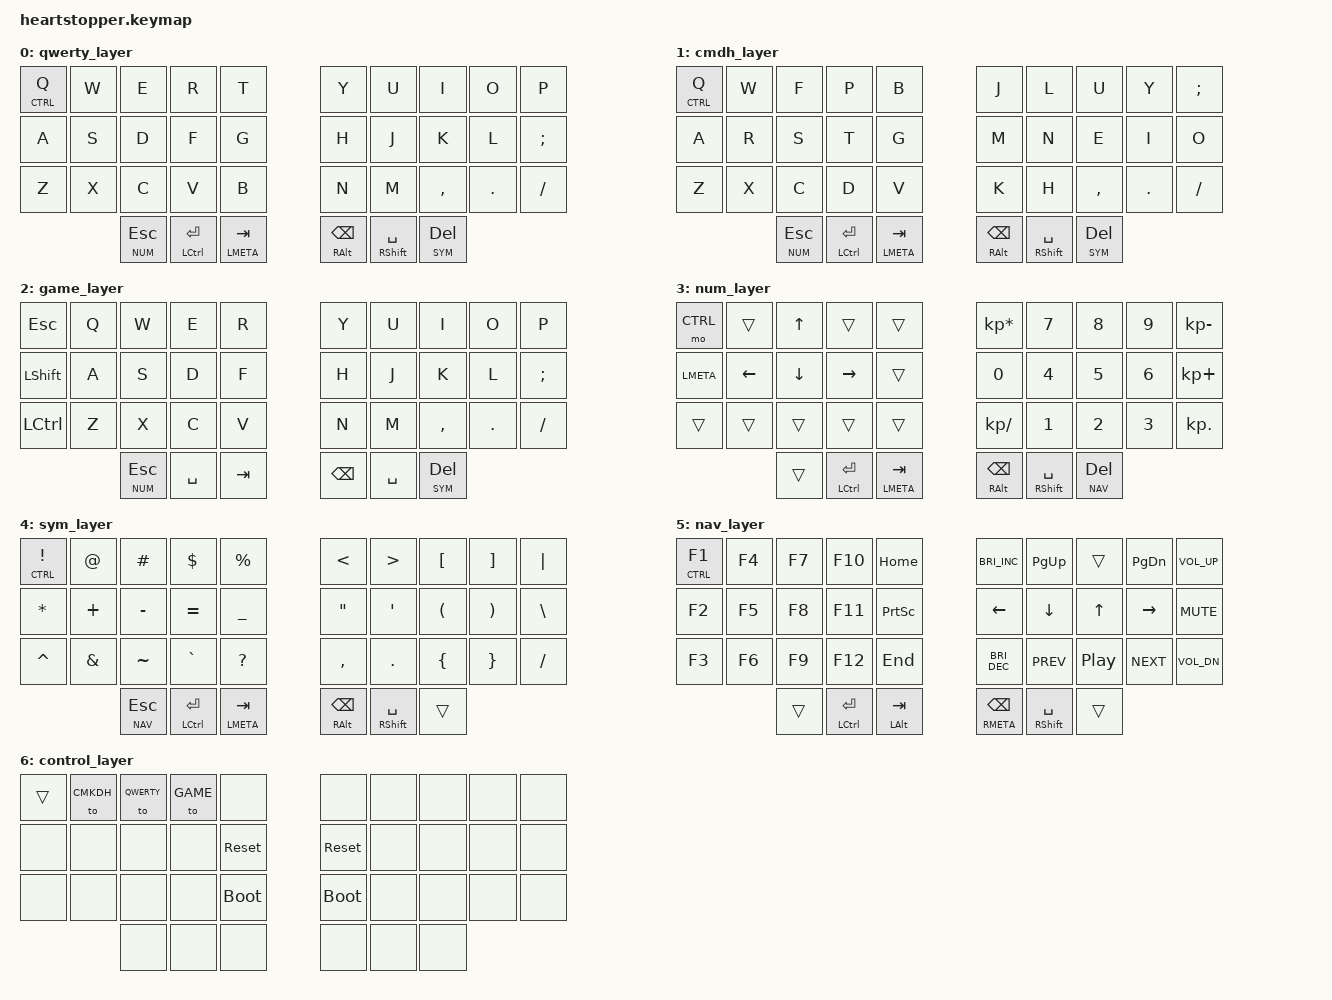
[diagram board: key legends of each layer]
#include <behaviors.dtsi>
#include <dt-bindings/zmk/keys.h>

#define CMKDH 0
#define QWERTY 1
#define GAME 2
#define NUM 3
#define SYM 4
#define NAV 5
#define CTRL 6

/ {
    behaviors {
        bm: balanced_homerow_mods {
            compatible = "zmk,behavior-hold-tap";
            #binding-cells = <2>;
            tapping-term-ms = <200>;    // <---[[moderate duration]]
            quick-tap-ms = <0>;
            flavor = "balanced";
            bindings = <&kp>, <&kp>;
        };
    };

    // KEY POSITIONS

    // 00 01 02 03 04    05 06 07 08 09
    // 10 11 12 13 14    15 16 17 18 19
    // 20 21 22 23 24    25 26 27 28 29
    //       30 31 32    33 34 35

    keymap {
        compatible = "zmk,keymap";

        // BASE LAYERS
        qwerty_layer {
            bindings = <
                &lt CTRL Q  &kp W  &kp E        &kp R          &kp T         &kp Y           &kp U            &kp I        &kp O    &kp P
                &kp A       &kp S  &kp D        &kp F          &kp G         &kp H           &kp J            &kp K        &kp L    &kp SEMI
                &kp Z       &kp X  &kp C        &kp V          &kp B         &kp N           &kp M            &kp COMMA    &kp DOT  &kp FSLH
                                   &lt NUM ESC  &mt LCTRL RET  &mt LMETA TAB &mt RALT BSPC  &mt RSHIFT SPACE &lt SYM DEL
            >;
        };


        cmdh_layer {
            bindings = <
                &lt CTRL Q  &kp W  &kp F        &kp P          &kp B         &kp J           &kp L            &kp U        &kp Y    &kp SEMI
                &kp A       &kp R  &kp S        &kp T          &kp G         &kp M           &kp N            &kp E        &kp I    &kp O
                &kp Z       &kp X  &kp C        &kp D          &kp V         &kp K           &kp H            &kp COMMA    &kp DOT  &kp FSLH
                                   &lt NUM ESC  &mt LCTRL RET  &mt LMETA TAB &mt RALT BSPC  &mt RSHIFT SPACE &lt SYM DEL
            >;
        };



        game_layer {
            bindings = <
              &kp ESC              &kp Q        &kp W           &kp E       &kp R      &kp Y     &kp U     &kp I     &kp O     &kp P
              &kp LSHIFT           &kp A        &kp S           &kp D       &kp F      &kp H     &kp J     &kp K     &kp L     &kp SEMI
              &kp LCTRL            &kp Z        &kp X           &kp C       &kp V      &kp N     &kp M     &kp COMMA &kp DOT   &kp FSLH
                                   &lt NUM ESC  &kp SPACE       &kp TAB     &kp BSPC   &kp SPACE &lt SYM DEL
            >;
        };


        // AUXILLARY LAYERS

        num_layer {
            bindings = <
                &mo CTRL          &trans          &kp UP           &trans          &trans          &kp KP_MULTIPLY &kp N7           &kp N8         &kp N9         &kp KP_MINUS
                &kp LMETA         &kp LEFT        &kp DOWN         &kp RIGHT       &trans          &kp N0          &kp N4           &kp N5         &kp N6         &kp KP_PLUS
                &trans            &trans          &trans           &trans          &trans          &kp KP_DIVIDE   &kp N1           &kp N2         &kp N3         &kp KP_DOT 
                                                  &trans           &mt LCTRL RET  &mt LMETA TAB    &mt RALT BSPC  &mt RSHIFT SPACE  &lt NAV DEL
            >;
        };


        sym_layer {
            bindings = <
                &lt CTRL EXCL          &kp AT              &kp HASH              &kp DOLLAR        &kp PERCENT      &kp LT          &kp GT            &kp LBKT           &kp RBKT         &kp PIPE
                &kp STAR               &kp PLUS            &kp MINUS             &kp EQUAL         &kp UNDER        &kp DQT         &kp SQT           &kp LPAR           &kp RPAR         &kp BSLH
                &kp CARET              &kp AMPS            &kp TILDE             &kp GRAVE         &kp QUESTION     &kp COMMA       &kp DOT           &kp LBRC           &kp RBRC         &kp FSLH
                                                           &lt NAV ESC           &mt LCTRL RET     &mt LMETA TAB    &mt RALT BSPC  &mt RSHIFT SPACE  &trans
            >;
        };


        nav_layer {
            bindings = <
                &lt CTRL F1      &kp F4            &kp F7         &kp F10         &kp HOME                        &kp C_BRI_INC     &kp PG_UP         &trans            &kp PG_DN       &kp C_VOL_UP
                &kp F2           &kp F5            &kp F8         &kp F11         &kp PSCRN                       &kp LEFT          &kp DOWN          &kp UP            &kp RIGHT       &kp C_MUTE
                &kp F3           &kp F6            &kp F9         &kp F12         &kp END                         &kp C_BRI_DEC     &kp C_PREV        &kp C_PP          &kp C_NEXT      &kp C_VOL_DN
                                                   &trans         &mt LCTRL RET   &mt LALT TAB                    &mt RMETA BSPC    &mt RSHIFT SPACE  &trans
            >;
        };


        // CONTROL LAYER

        control_layer {
            bindings = <
                &trans   &to CMKDH          &to QWERTY          &to GAME         &none              &none       &none       &none       &none       &none
                &none    &none              &none               &none            &sys_reset         &sys_reset  &none       &none       &none       &none
                &none    &none              &none               &none            &bootloader        &bootloader &none       &none       &none       &none
                                            &none               &none            &none              &none       &none       &none
            >;
        };
    };

    combos {
        compatible = "zmk,combos";
        combo_esc {
            timeout-ms = <35>;
            key-positions = <11 12>;
            bindings = <&kp ESC>;
            layers = <CMKDH QWERTY NUM SYM NAV>;
        };

        combo_ret {
            timeout-ms = <35>;
            key-positions = <17 18>;
            bindings = <&kp RET>;
            layers = <CMKDH QWERTY NUM SYM NAV>;
        };

        combo_tab {
            timeout-ms = <35>;
            key-positions = <1 2>;
            bindings = <&kp TAB>;
            layers = <CMKDH QWERTY NUM SYM NAV>;
        };

        combo_bspc {
            timeout-ms = <35>;
            key-positions = <7 8>;
            bindings = <&kp BSPC>;
            layers = <CMKDH QWERTY NUM SYM NAV>;
        };

        combo_del {
            timeout-ms = <35>;
            key-positions = <27 28>;
            bindings = <&kp DEL>;
            layers = <CMKDH QWERTY NUM SYM NAV>;
        };

        combo_ins {
            timeout-ms = <35>;
            key-positions = <22 23>;
            bindings = <&kp INS>;
            layers = <CMKDH QWERTY NUM SYM NAV>;
        };

        combo_cw {
            timeout-ms = <35>;
            key-positions = <16 19>;
            bindings = <&caps_word>;
            layers = <CMKDH QWERTY NUM SYM NAV>;
        };
    };
};
